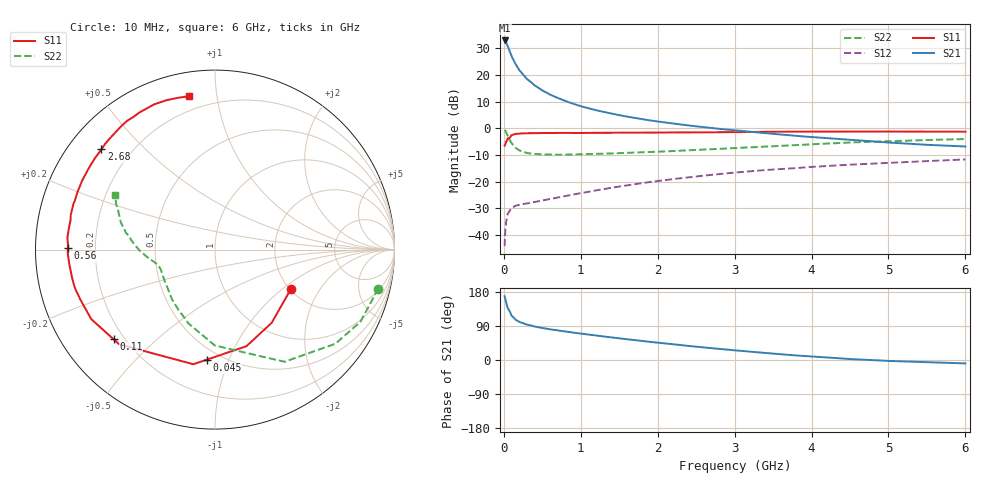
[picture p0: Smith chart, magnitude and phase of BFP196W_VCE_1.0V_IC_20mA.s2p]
! Infineon Technologies  Discrete & RF Semiconductors
! BFP196W
! VCE = 1.0 V,  IC =  20mA
! Common Emitter S-Parameters:  Jan 2016
# GHz  S  MA  R  50
!  f  S11  S21  S12  S22
! GHz  MAG  ANG  MAG  ANG  MAG  ANG  MAG  ANG
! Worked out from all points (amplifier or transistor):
!   210 points, 10 MHz to 6 GHz, reference 50 ohm
!   highest |S21| = 33.0 dB at 10 MHz (marker M1)
!   |S21| within 3 dB of that: start of sweep to 61.56 MHz
!   unconditionally stable (mu >= 1): 835.4 MHz to 3.498 GHz; 3.757 GHz to 3.815 GHz
!   at 185 MHz: K = 0.34, MSG = 25.7 dB, |S12| = -28.8 dB
!   at 1.52 GHz: K = 1.16, MAG = 10.9 dB, |S12| = -21.7 dB
!   at 6 GHz: K = 0.99, MSG = 2.4 dB, |S12| = -11.6 dB
!   S11 on the Smith chart (normalised r, x): 10 MHz: 2.03, -1.15; 45 MHz: 0.42, -0.83; 110 MHz: 0.16, -0.37; 560 MHz: 0.10, +0.00; 2.68 GHz: 0.10, +0.38; 6 GHz: 0.12, +0.84
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0.01  0.4764 -27.4  44.57 168.3  0.0062 78.7  0.9356 -13.4
0.02  0.5157 -52.2  43.61 159.9  0.0128 71.0  0.9045 -26.4
0.03  0.5659 -71.9  40.94 151.2  0.0174 64.1  0.8516 -38.0
0.045  0.6153 -94.3  35.94 140.9  0.023 53.4  0.7549 -52.6
0.05  0.65 -100.7  34.58 136.8  0.025 50.9  0.7354 -58.2
0.1  0.7504 -135.3  22.64 117.0  0.0323 35.8  0.5342 -90.1
0.11  0.754 -138.5  21.31 115.4  0.0329 34.6  0.5106 -93.4
0.15  0.791 -150.7  16.23 106.5  0.0354 30.2  0.4373 -109.7
0.2  0.7994 -159.2  12.44 100.7  0.037 28.8  0.3888 -122.4
0.24  0.8073 -163.6  10.59 97.5  0.038 28.9  0.3695 -129.4
0.3  0.8115 -168.7  8.448 93.4  0.0392 29.5  0.3461 -137.9
0.4  0.816 -174.4  6.406 88.3  0.0417 32.0  0.3324 -146.6
0.56  0.8197 179.5  4.645 82.4  0.0463 36.4  0.3241 -154.6
0.8  0.8229 172.7  3.253 75.0  0.0539 42.2  0.3226 -160.8
1.02  0.8221 168.1  2.563 69.3  0.0619 45.8  0.3277 -164.0
1.4  0.8272 160.7  1.894 59.6  0.0773 49.4  0.3397 -167.3
2.02  0.8351 149.5  1.336 45.4  0.1042 50.8  0.3665 -171.8
2.68  0.8446 138.5  1.026 31.6  0.1339 48.5  0.4056 -177.4
3.1  0.8546 131.8  0.891 23.9  0.1527 45.8  0.4348 178.4
4.1  0.8725 117.7  0.674 8.1  0.1936 38.6  0.5123 168.2
5.1  0.8739 107.0  0.534 -3.0  0.2297 31.0  0.5823 158.0
6  0.867 99.7  0.458 -9.0  0.2619 24.7  0.6318 151.4
